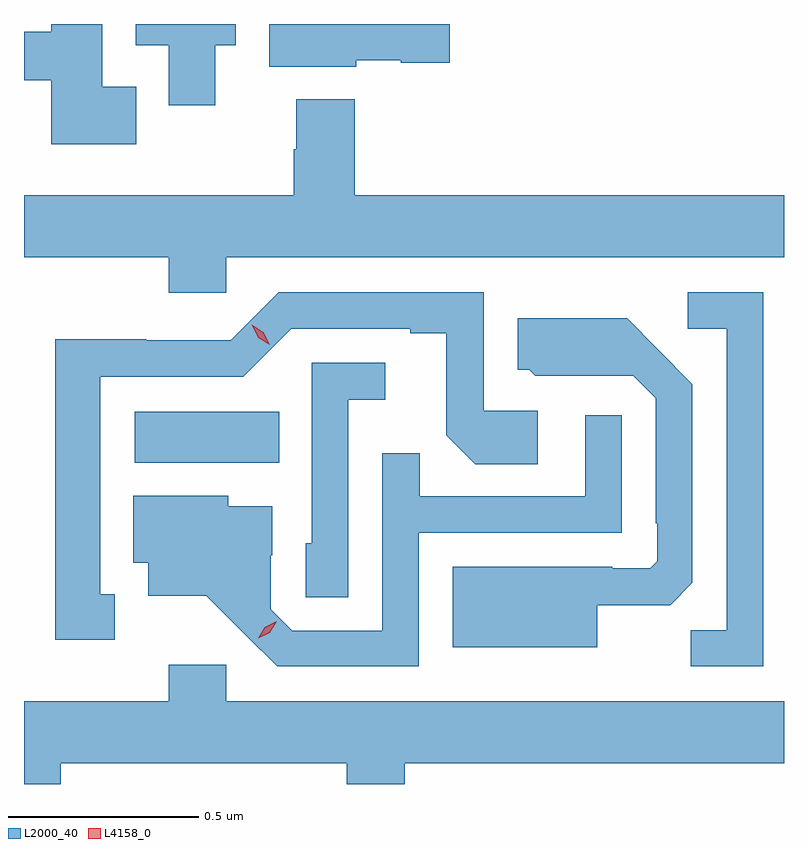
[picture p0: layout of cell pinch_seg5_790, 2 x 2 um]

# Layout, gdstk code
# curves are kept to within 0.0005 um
import gdstk
lib = gdstk.Library(unit=1e-6, precision=1e-09)
def R(c, l, rs):  # rectangles x0, y0, x1, y1
    for r in rs: c.add(gdstk.rectangle(r[:2], r[2:], *l))
def P(c, l, *ps):  # polygons
    for p in ps: c.add(gdstk.Polygon(p, *l))
L2000_40 = (2000, 40)
L4158_0 = (4158, 0)

pinch_seg5_790 = lib.new_cell('pinch_seg5_790')
R(pinch_seg5_790, L2000_40, [(797.826,912.164,798.206,912.298)])
P(pinch_seg5_790, L2000_40, [(798.408,913.223),(798.525,913.223),(798.525,913.216),(798.655,913.216),(798.655,913.318),(798.179,913.318),(798.179,913.205),(798.408,913.205)],
  [(798.037,913.262),(798.091,913.262),(798.091,913.318),(797.828,913.318),(797.828,913.262),(797.915,913.262),(797.915,913.104),(798.037,913.104)],
  [(797.83,913.153),(797.74,913.153),(797.74,913.318),(797.606,913.318),(797.606,913.298),(797.534,913.298),(797.534,913.17),(797.606,913.17),(797.606,913.001),(797.83,913.001)],
  [(798.066,912.704),(799.534,912.704),(799.534,912.868),(798.404,912.868),(798.404,913.12),(798.251,913.12),(798.251,912.989),(798.244,912.989),(798.244,912.868),(797.534,912.868),(797.534,912.704),(797.915,912.704),(797.915,912.611),(798.066,912.611)],
  [(799.479,912.612),(799.281,912.612),(799.281,912.516),(799.383,912.516),(799.383,911.723),(799.288,911.723),(799.288,911.628),(799.479,911.628)],
  [(797.773,911.817),(797.734,911.817),(797.734,912.39),(798.111,912.39),(798.237,912.516),(798.551,912.516),(798.551,912.504),(798.645,912.504),(798.645,912.236),(798.721,912.16),(798.886,912.16),(798.886,912.3),(798.744,912.3),(798.744,912.612),(798.204,912.612),(798.078,912.486),(797.856,912.486),(797.856,912.488),(797.616,912.488),(797.616,911.697),(797.773,911.697)],
  [(799.042,911.789),(799.234,911.789),(799.293,911.848),(799.293,912.37),(799.121,912.544),(798.833,912.544),(798.833,912.408),(798.864,912.408),(798.88,912.392),(799.014,912.392),(799.014,912.393),(799.137,912.393),(799.197,912.333),(799.197,912.004),(799.2,912.004),(799.2,911.904),(799.182,911.886),(799.082,911.886),(799.082,911.89),(798.662,911.89),(798.662,911.678),(799.042,911.678)],
  [(798.387,912.329),(798.484,912.329),(798.484,912.426),(798.291,912.426),(798.291,911.952),(798.276,911.952),(798.276,911.809),(798.387,911.809)],
  [(798.573,911.979),(799.107,911.979),(799.107,912.289),(799.011,912.289),(799.011,912.075),(798.575,912.075),(798.575,912.188),(798.477,912.188),(798.477,911.721),(798.24,911.721),(798.183,911.778),(798.183,911.92),(798.187,911.92),(798.187,912.049),(798.072,912.049),(798.072,912.076),(797.822,912.076),(797.822,911.9),(797.861,911.9),(797.861,911.813),(798.013,911.813),(798.2,911.628),(798.573,911.628)],
  [(797.631,911.372),(798.383,911.372),(798.383,911.318),(798.536,911.318),(798.536,911.372),(799.534,911.372),(799.534,911.536),(798.066,911.536),(798.066,911.632),(797.915,911.632),(797.915,911.536),(797.534,911.536),(797.534,911.318),(797.631,911.318)])
P(pinch_seg5_790, L4158_0, [(798.15,911.701),(798.15,911.701),(798.168,911.731),(798.199,911.746),(798.199,911.746),(798.199,911.746),(798.181,911.716),(798.151,911.701)],
  [(798.181,912.474),(798.15,912.493),(798.133,912.526),(798.133,912.527),(798.133,912.527),(798.164,912.507),(798.181,912.474),(798.181,912.474)])

lib.write_gds('pinch_seg5_790.gds')
